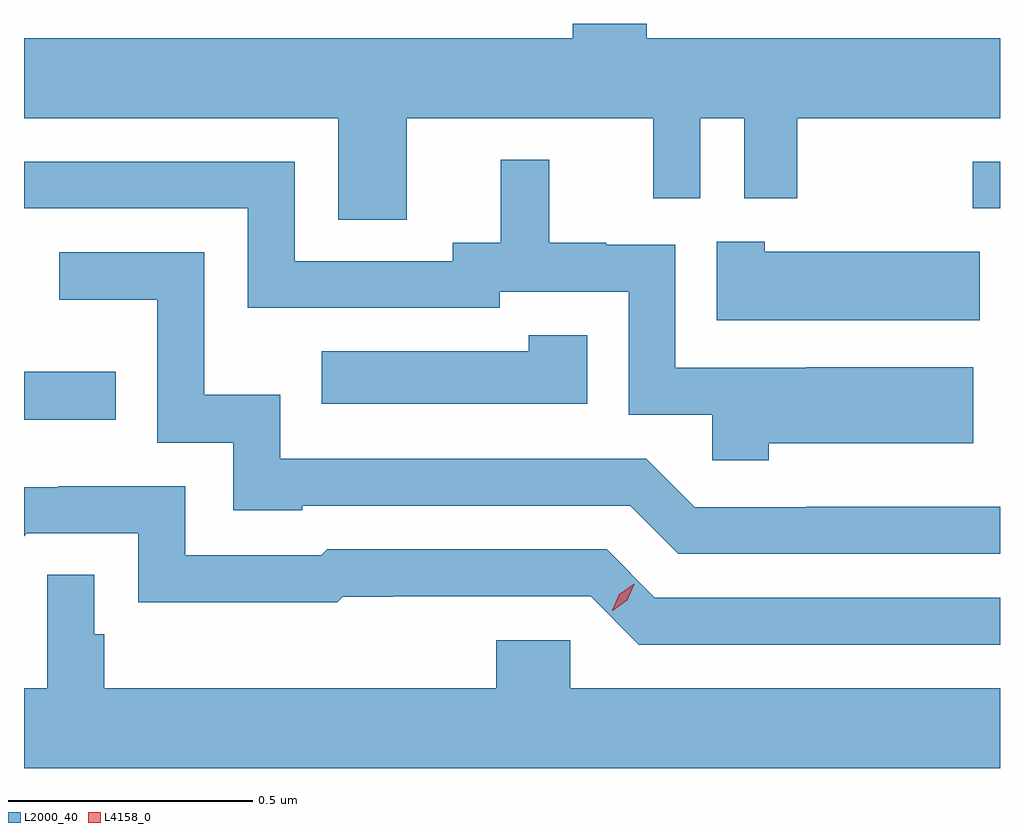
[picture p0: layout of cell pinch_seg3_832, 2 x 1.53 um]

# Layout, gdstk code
import gdstk
lib = gdstk.Library(unit=1e-6, precision=1e-09)
def R(c, l, rs):  # rectangles x0, y0, x1, y1
    for r in rs: c.add(gdstk.rectangle(r[:2], r[2:], *l))
def P(c, l, *ps):  # polygons
    for p in ps: c.add(gdstk.Polygon(p, *l))
L2000_40 = (2000, 40)
L4158_0 = (4158, 0)

pinch_seg3_832 = lib.new_cell('pinch_seg3_832')
R(pinch_seg3_832, L2000_40, [(853.197,725.606,853.385,725.704), (855.141,726.039,855.197,726.135)])
P(pinch_seg3_832, L2000_40, [(853.981,726.224),(854.486,726.224),(854.486,726.06),(854.583,726.06),(854.583,726.224),(854.673,726.224),(854.673,726.06),(854.782,726.06),(854.782,726.224),(855.197,726.224),(855.197,726.388),(854.473,726.388),(854.473,726.417),(854.321,726.417),(854.321,726.388),(853.197,726.388),(853.197,726.224),(853.841,726.224),(853.841,726.016),(853.981,726.016)],
  [(854.723,725.558),(855.142,725.558),(855.142,725.713),(854.8,725.713),(854.8,725.712),(854.532,725.712),(854.532,725.964),(854.39,725.964),(854.39,725.969),(854.273,725.969),(854.273,726.139),(854.174,726.139),(854.174,725.969),(854.076,725.969),(854.076,725.931),(853.752,725.931),(853.752,726.135),(853.197,726.135),(853.197,726.039),(853.656,726.039),(853.656,725.835),(854.172,725.835),(854.172,725.868),(854.436,725.868),(854.436,725.616),(854.607,725.616),(854.607,725.523),(854.723,725.523)],
  [(855.155,725.95),(854.715,725.95),(854.715,725.971),(854.617,725.971),(854.617,725.81),(855.155,725.81)],
  [(855.197,725.428),(854.8,725.428),(854.8,725.427),(854.571,725.427),(854.472,725.526),(853.722,725.526),(853.722,725.657),(853.566,725.657),(853.566,725.949),(853.269,725.949),(853.269,725.852),(853.47,725.852),(853.47,725.559),(853.626,725.559),(853.626,725.42),(853.767,725.42),(853.767,725.43),(854.439,725.43),(854.538,725.331),(855.197,725.331)],
  [(854.351,725.779),(854.231,725.779),(854.231,725.746),(853.807,725.746),(853.807,725.639),(854.351,725.639)],
  [(855.197,725.241),(854.49,725.241),(854.391,725.34),(853.818,725.34),(853.806,725.328),(853.527,725.328),(853.527,725.47),(853.267,725.47),(853.267,725.468),(853.197,725.468),(853.197,725.367),(853.203,725.373),(853.431,725.373),(853.431,725.232),(853.839,725.232),(853.85,725.243),(853.954,725.243),(853.954,725.244),(854.358,725.244),(854.457,725.145),(855.197,725.145)],
  [(855.197,725.056),(854.316,725.056),(854.316,725.154),(854.165,725.154),(854.165,725.056),(853.361,725.056),(853.361,725.166),(853.341,725.166),(853.341,725.288),(853.245,725.288),(853.245,725.056),(853.197,725.056),(853.197,724.892),(855.197,724.892)])
P(pinch_seg3_832, L4158_0, [(854.402,725.214),(854.402,725.215),(854.417,725.248),(854.447,725.27),(854.447,725.27),(854.447,725.269),(854.433,725.236),(854.403,725.214)])

lib.write_gds('pinch_seg3_832.gds')
